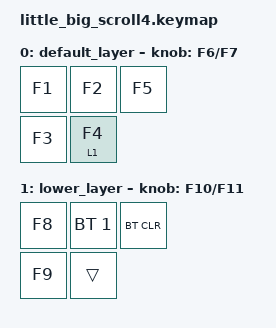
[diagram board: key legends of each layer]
#include <behaviors.dtsi>
#include <dt-bindings/zmk/keys.h>
#include <dt-bindings/zmk/bt.h>
 
/ {
    keymap {
        compatible = "zmk,keymap";
 
        default_layer {
            bindings = <
                &kp F1 &kp F2 &kp F5
                &kp F3 &lt 1 F4
            >;
            sensor-bindings = <&inc_dec_kp F6 F7>;
        };

        lower_layer {
            bindings = <
                &kp F8 &bt BT_SEL 1 &bt BT_CLR
                &kp F9 &trans
            >;
            sensor-bindings = <&inc_dec_kp F10 F11>;
        };
    };
};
